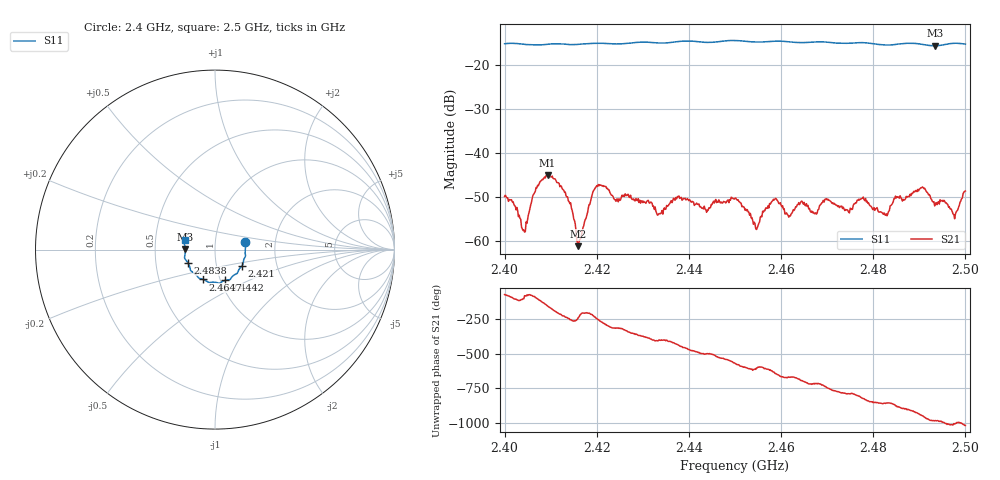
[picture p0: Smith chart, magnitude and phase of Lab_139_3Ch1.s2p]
# Hz S RI R 50
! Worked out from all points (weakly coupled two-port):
!   601 points, 2.4 GHz to 2.5 GHz, reference 50 ohm
!   highest |S21| = -45.02 dB at 2.4093 GHz (marker M1); lowest = -61.1 dB at 2.416 GHz (marker M2)
!   lowest |S11| = -15.7 dB at 2.4935 GHz (marker M3), VSWR 1.39, Z = 35.9 + j0.191 ohm
!   |S11| at or under -10 dB: start of sweep to end of sweep
!   S12 and S22 are empty: the file has one direction only
!   S11 on the Smith chart (normalised r, x): 2.4 GHz: 1.40, +0.12; 2.421 GHz: 1.33, -0.24; 2.4442 GHz: 1.05, -0.37; 2.4647 GHz: 0.83, -0.28; 2.4838 GHz: 0.73, -0.11; 2.5 GHz: 0.71, +0.08
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2.4e9  0.169 0.0402  0.000859 -0.00311  0 0  0 0
2.404167e9  0.1706 0.0173  -0.000349 -0.0013  0 0  0 0
2.409333e9  0.1692 -0.0254  -0.00516 -0.00221  0 0  0 0
2.413167e9  0.1658 -0.0443  -0.00197 0.00303  0 0  0 0
2.416e9  0.1589 -0.063  -0.000434 0.000769  0 0  0 0
2.416667e9  0.158 -0.0683  -0.000992 0.000593  0 0  0 0
2.421e9  0.1516 -0.0889  0.000149 0.00433  0 0  0 0
2.433333e9  0.1087 -0.14  0.00134 -0.0015  0 0  0 0
2.437667e9  0.0878 -0.1618  0.000693 -0.00313  0 0  0 0
2.444167e9  0.0571 -0.1706  -0.00175 -0.0014  0 0  0 0
2.45e9  0.0245 -0.1875  -0.00266 0.00157  0 0  0 0
2.4545e9  -0.00293 -0.1817  -0.000379 0.00134  0 0  0 0
2.4585e9  -0.0294 -0.1837  0.000226 0.00294  0 0  0 0
2.4615e9  -0.0427 -0.178  0.00129 0.00151  0 0  0 0
2.464667e9  -0.0669 -0.166  0.00257 0.00105  0 0  0 0
2.466667e9  -0.0813 -0.1621  0.00221 -7.49e-05  0 0  0 0
2.483333e9  -0.1495 -0.0765  -0.00156 -0.00152  0 0  0 0
2.483833e9  -0.1523 -0.0719  -0.00194 -0.00166  0 0  0 0
2.490667e9  -0.1679 -0.0312  -0.0027 0.00314  0 0  0 0
2.4935e9  -0.1648 0.00258  -0.000352 0.00266  0 0  0 0
2.497833e9  -0.1717 0.0388  0.000502 0.00197  0 0  0 0
2.5e9  -0.1644 0.0517  0.00176 0.00328  0 0  0 0
